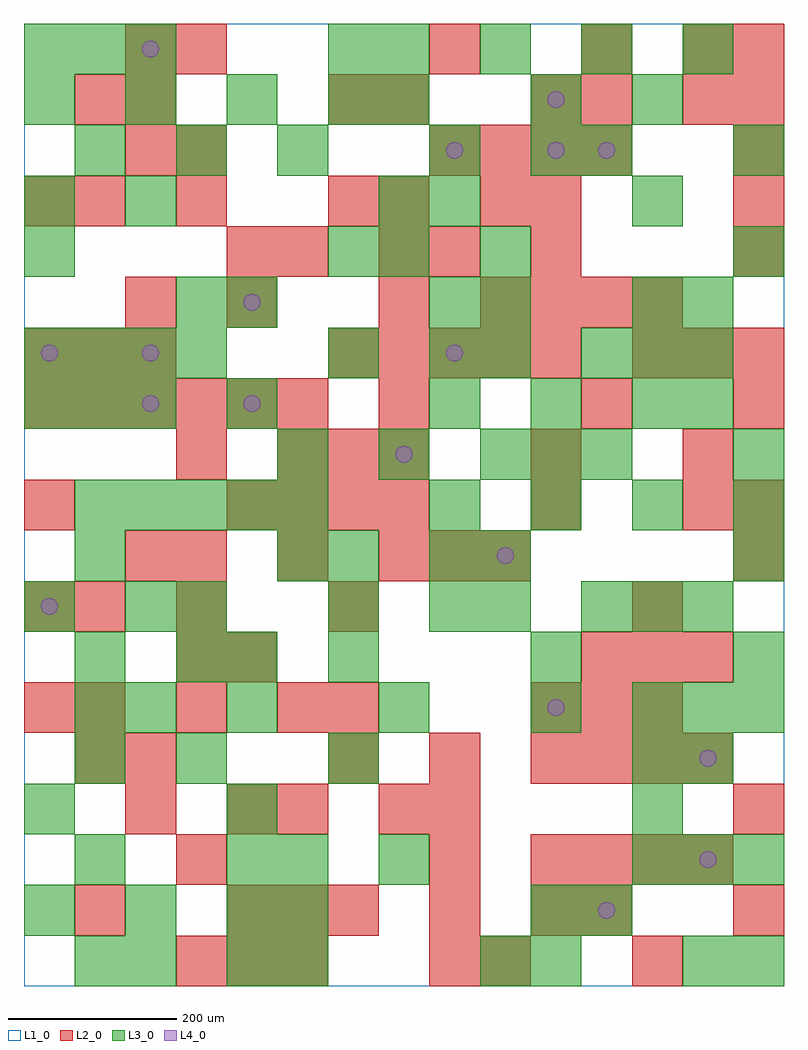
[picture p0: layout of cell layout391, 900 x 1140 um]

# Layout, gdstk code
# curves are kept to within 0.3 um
import gdstk
lib = gdstk.Library(unit=1e-6, precision=1e-09)
def R(c, l, rs):  # rectangles x0, y0, x1, y1
    for r in rs: c.add(gdstk.rectangle(r[:2], r[2:], *l))
def A(c, l, x, y, w, h, nx, ny, dx, dy):  # array of equal rectangles
    R(c, l, [(x+i*dx, y+j*dy, x+i*dx+w, y+j*dy+h) for i in range(nx) for j in range(ny)])
def P(c, l, *ps):  # polygons
    for p in ps: c.add(gdstk.Polygon(p, *l))
L1_0 = (1, 0)
L2_0 = (2, 0)
L3_0 = (3, 0)
L4_0 = (4, 0)

layout391 = lib.new_cell('layout391')
R(layout391, L1_0, [(0,0,900,1140)])
A(layout391, L2_0, 180, 0, 60, 60, 3, 1, 60, 0)
A(layout391, L2_0, 480, 0, 60, 60, 1, 4, 0, 60)
A(layout391, L2_0, 60, 60, 60, 60, 1, 3, 0, 180)
A(layout391, L2_0, 240, 60, 60, 60, 3, 1, 60, 0)
A(layout391, L2_0, 600, 120, 60, 60, 4, 1, 60, 0)
A(layout391, L2_0, 360, 240, 60, 60, 3, 1, 120, 0)
A(layout391, L2_0, 660, 240, 60, 60, 3, 2, 60, 120)
A(layout391, L2_0, 0, 300, 60, 60, 1, 3, 0, 120)
A(layout391, L2_0, 60, 300, 60, 60, 3, 1, 120, 0)
A(layout391, L2_0, 600, 300, 60, 60, 3, 1, 60, 0)
A(layout391, L2_0, 180, 480, 60, 60, 3, 1, 120, 0)
A(layout391, L2_0, 240, 540, 60, 60, 4, 1, 60, 0)
A(layout391, L2_0, 300, 600, 60, 60, 3, 1, 60, 0)
A(layout391, L2_0, 0, 660, 60, 60, 6, 1, 60, 0)
A(layout391, L2_0, 0, 720, 60, 60, 3, 1, 60, 0)
A(layout391, L2_0, 360, 720, 60, 60, 5, 1, 60, 0)
A(layout391, L2_0, 720, 720, 60, 60, 3, 1, 60, 0)
A(layout391, L2_0, 420, 780, 60, 60, 1, 3, 0, 60)
A(layout391, L2_0, 540, 780, 60, 60, 4, 1, 60, 0)
A(layout391, L2_0, 840, 840, 60, 60, 1, 5, 0, 60)
A(layout391, L2_0, 120, 960, 60, 60, 1, 3, 0, 60)
A(layout391, L2_0, 480, 960, 60, 60, 4, 1, 60, 0)
R(layout391, L2_0, [(540,0,600,60), (720,0,780,60), (600,60,660,120), (660,60,720,120), (840,60,900,120), (180,120,240,180), (120,180,180,240), (240,180,300,240), (300,180,360,240), (420,180,480,240), (840,180,900,240), (120,240,180,300), (360,300,420,360), (180,360,240,420), (240,360,300,420), (180,420,240,480), (360,420,420,480), (720,420,780,480), (120,480,180,540), (480,480,540,540), (540,480,600,540), (840,480,900,540), (600,540,660,600), (780,540,840,600), (840,540,900,600), (180,600,240,660), (600,600,660,660), (780,600,840,660), (420,660,480,720), (660,660,720,720), (840,660,900,720), (120,780,180,840), (240,780,300,840), (240,840,300,900), (300,840,360,900), (480,840,540,900), (600,840,660,900), (0,900,60,960), (60,900,120,960), (180,900,240,960), (360,900,420,960), (540,900,600,960), (600,900,660,960), (180,960,240,1020), (60,1020,120,1080), (360,1020,420,1080), (420,1020,480,1080), (600,1020,660,1080), (660,1020,720,1080), (780,1020,840,1080), (180,1080,240,1140), (480,1080,540,1140), (660,1080,720,1140), (780,1080,840,1140)])
A(layout391, L3_0, 60, 0, 60, 60, 1, 3, 0, 120)
A(layout391, L3_0, 300, 0, 60, 60, 1, 3, 0, 60)
A(layout391, L3_0, 0, 60, 60, 60, 3, 1, 120, 0)
A(layout391, L3_0, 720, 120, 60, 60, 3, 2, 60, 180)
A(layout391, L3_0, 240, 300, 60, 60, 3, 1, 180, 0)
A(layout391, L3_0, 360, 360, 60, 60, 3, 1, 240, 0)
A(layout391, L3_0, 660, 420, 60, 60, 3, 2, 60, 300)
A(layout391, L3_0, 60, 540, 60, 60, 5, 1, 60, 0)
A(layout391, L3_0, 480, 540, 60, 60, 4, 1, 120, 0)
A(layout391, L3_0, 300, 600, 60, 60, 3, 1, 120, 0)
A(layout391, L3_0, 0, 660, 60, 60, 3, 2, 60, 420)
A(layout391, L3_0, 480, 660, 60, 60, 3, 1, 120, 0)
A(layout391, L3_0, 0, 720, 60, 60, 4, 1, 60, 0)
A(layout391, L3_0, 540, 720, 60, 60, 1, 3, 0, 60)
A(layout391, L3_0, 720, 780, 60, 60, 1, 3, 0, 120)
A(layout391, L3_0, 60, 960, 60, 60, 3, 1, 120, 0)
A(layout391, L3_0, 0, 1020, 60, 60, 4, 1, 120, 0)
A(layout391, L3_0, 420, 1080, 60, 60, 4, 1, 120, 0)
R(layout391, L3_0, [(120,0,180,60), (240,0,300,60), (540,0,600,60), (600,0,660,60), (780,0,840,60), (840,0,900,60), (600,60,660,120), (660,60,720,120), (240,120,300,180), (420,120,480,180), (0,180,60,240), (240,180,300,240), (720,180,780,240), (180,240,240,300), (360,240,420,300), (720,240,780,300), (780,240,840,300), (60,300,120,360), (120,300,180,360), (60,360,120,420), (180,360,240,420), (240,360,300,420), (0,420,60,480), (120,420,180,480), (180,420,240,480), (360,420,420,480), (480,420,540,480), (540,420,600,480), (60,480,120,540), (300,480,360,540), (360,480,420,540), (480,480,540,540), (540,480,600,540), (840,480,900,540), (600,600,660,660), (660,600,720,660), (840,600,900,660), (240,660,300,720), (780,660,840,720), (360,720,420,780), (480,720,540,780), (180,780,240,840), (240,780,300,840), (480,780,540,840), (780,780,840,840), (0,840,60,900), (360,840,420,900), (420,840,480,900), (840,840,900,900), (0,900,60,960), (120,900,180,960), (420,900,480,960), (480,900,540,960), (480,960,540,1020), (600,960,660,1020), (660,960,720,1020), (840,960,900,1020), (420,1020,480,1080), (600,1020,660,1080), (360,1080,420,1140)])
P(layout391, L4_0, [(40,450),(39.239,453.827),(37.071,457.071),(33.827,459.239),(30,460),(26.173,459.239),(22.929,457.071),(20.761,453.827),(20,450),(20.761,446.173),(22.929,442.929),(26.173,440.761),(30,440),(33.827,440.761),(37.071,442.929),(39.239,446.173)],
  [(40,750),(39.239,753.827),(37.071,757.071),(33.827,759.239),(30,760),(26.173,759.239),(22.929,757.071),(20.761,753.827),(20,750),(20.761,746.173),(22.929,742.929),(26.173,740.761),(30,740),(33.827,740.761),(37.071,742.929),(39.239,746.173)],
  [(160,690),(159.239,693.827),(157.071,697.071),(153.827,699.239),(150,700),(146.173,699.239),(142.929,697.071),(140.761,693.827),(140,690),(140.761,686.173),(142.929,682.929),(146.173,680.761),(150,680),(153.827,680.761),(157.071,682.929),(159.239,686.173)],
  [(160,750),(159.239,753.827),(157.071,757.071),(153.827,759.239),(150,760),(146.173,759.239),(142.929,757.071),(140.761,753.827),(140,750),(140.761,746.173),(142.929,742.929),(146.173,740.761),(150,740),(153.827,740.761),(157.071,742.929),(159.239,746.173)],
  [(160,1110),(159.239,1113.827),(157.071,1117.071),(153.827,1119.239),(150,1120),(146.173,1119.239),(142.929,1117.071),(140.761,1113.827),(140,1110),(140.761,1106.173),(142.929,1102.929),(146.173,1100.761),(150,1100),(153.827,1100.761),(157.071,1102.929),(159.239,1106.173)],
  [(280,690),(279.239,693.827),(277.071,697.071),(273.827,699.239),(270,700),(266.173,699.239),(262.929,697.071),(260.761,693.827),(260,690),(260.761,686.173),(262.929,682.929),(266.173,680.761),(270,680),(273.827,680.761),(277.071,682.929),(279.239,686.173)],
  [(280,810),(279.239,813.827),(277.071,817.071),(273.827,819.239),(270,820),(266.173,819.239),(262.929,817.071),(260.761,813.827),(260,810),(260.761,806.173),(262.929,802.929),(266.173,800.761),(270,800),(273.827,800.761),(277.071,802.929),(279.239,806.173)],
  [(460,630),(459.239,633.827),(457.071,637.071),(453.827,639.239),(450,640),(446.173,639.239),(442.929,637.071),(440.761,633.827),(440,630),(440.761,626.173),(442.929,622.929),(446.173,620.761),(450,620),(453.827,620.761),(457.071,622.929),(459.239,626.173)],
  [(520,750),(519.239,753.827),(517.071,757.071),(513.827,759.239),(510,760),(506.173,759.239),(502.929,757.071),(500.761,753.827),(500,750),(500.761,746.173),(502.929,742.929),(506.173,740.761),(510,740),(513.827,740.761),(517.071,742.929),(519.239,746.173)],
  [(520,990),(519.239,993.827),(517.071,997.071),(513.827,999.239),(510,1000),(506.173,999.239),(502.929,997.071),(500.761,993.827),(500,990),(500.761,986.173),(502.929,982.929),(506.173,980.761),(510,980),(513.827,980.761),(517.071,982.929),(519.239,986.173)],
  [(580,510),(579.239,513.827),(577.071,517.071),(573.827,519.239),(570,520),(566.173,519.239),(562.929,517.071),(560.761,513.827),(560,510),(560.761,506.173),(562.929,502.929),(566.173,500.761),(570,500),(573.827,500.761),(577.071,502.929),(579.239,506.173)],
  [(640,330),(639.239,333.827),(637.071,337.071),(633.827,339.239),(630,340),(626.173,339.239),(622.929,337.071),(620.761,333.827),(620,330),(620.761,326.173),(622.929,322.929),(626.173,320.761),(630,320),(633.827,320.761),(637.071,322.929),(639.239,326.173)],
  [(640,990),(639.239,993.827),(637.071,997.071),(633.827,999.239),(630,1000),(626.173,999.239),(622.929,997.071),(620.761,993.827),(620,990),(620.761,986.173),(622.929,982.929),(626.173,980.761),(630,980),(633.827,980.761),(637.071,982.929),(639.239,986.173)],
  [(640,1050),(639.239,1053.827),(637.071,1057.071),(633.827,1059.239),(630,1060),(626.173,1059.239),(622.929,1057.071),(620.761,1053.827),(620,1050),(620.761,1046.173),(622.929,1042.929),(626.173,1040.761),(630,1040),(633.827,1040.761),(637.071,1042.929),(639.239,1046.173)],
  [(700,90),(699.239,93.827),(697.071,97.071),(693.827,99.239),(690,100),(686.173,99.239),(682.929,97.071),(680.761,93.827),(680,90),(680.761,86.173),(682.929,82.929),(686.173,80.761),(690,80),(693.827,80.761),(697.071,82.929),(699.239,86.173)],
  [(700,990),(699.239,993.827),(697.071,997.071),(693.827,999.239),(690,1000),(686.173,999.239),(682.929,997.071),(680.761,993.827),(680,990),(680.761,986.173),(682.929,982.929),(686.173,980.761),(690,980),(693.827,980.761),(697.071,982.929),(699.239,986.173)],
  [(820,150),(819.239,153.827),(817.071,157.071),(813.827,159.239),(810,160),(806.173,159.239),(802.929,157.071),(800.761,153.827),(800,150),(800.761,146.173),(802.929,142.929),(806.173,140.761),(810,140),(813.827,140.761),(817.071,142.929),(819.239,146.173)],
  [(820,270),(819.239,273.827),(817.071,277.071),(813.827,279.239),(810,280),(806.173,279.239),(802.929,277.071),(800.761,273.827),(800,270),(800.761,266.173),(802.929,262.929),(806.173,260.761),(810,260),(813.827,260.761),(817.071,262.929),(819.239,266.173)])

lib.write_gds('layout391.gds')
